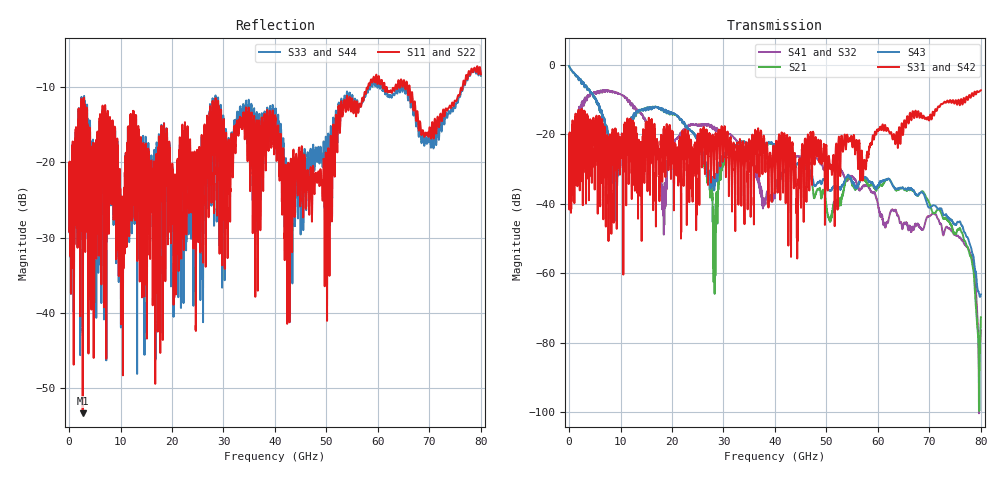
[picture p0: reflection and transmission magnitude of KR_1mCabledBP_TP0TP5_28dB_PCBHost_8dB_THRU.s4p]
!! Reference: shanbhag_3dj_02_2305.pdf
!! CHANNEL DESCRIPTION: TP0_TP5 KR Channel using 1meter Cabled BP, PCB Host
!! CABLE DESCRIPTION: 1meter 26AWG Cable
!! MODEL STATUS: Developmental
!! PORT DEFINITIONS:
!! Port  1  ----->  Side A  Side B  <-----  Port  2
!! Port  3  ----->  Side A  Side B  <-----  Port  4
# HZ S MA R 50.000000
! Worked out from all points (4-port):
!   8000 points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, 10 MHz to 80 GHz, reference 50 ohm
!   strongest paths, dB at 10 MHz, 20.01 GHz, 40.01 GHz, 60.01 GHz, 80 GHz:
!     S31: -27.2, -22.7, -31.4, -18.9, -7.4
!     S42: -27.2, -22.7, -31.4, -18.9, -7.4
!     S43: -0.5, -13.9, -23.7, -34.9, -66.1
!     S21: -0.5, -14.0, -23.7, -35.3, -72.6
!     S41: -41.3, -23.4, -37.7, -40.5, -76.5
!     S32: -41.3, -23.4, -37.7, -40.5, -76.5
!   lowest |S11| = -53.3 dB at 2.65 GHz (marker M1), VSWR 1.00, Z = 49.8 - j0.0135 ohm
!   |S11| at or under -10 dB: start of sweep to 58.09 GHz; 61.66 GHz to 63.36 GHz (1.697 GHz wide, 2.72 % of centre); 66.16 GHz to 76.46 GHz (10.3 GHz wide, 14.4 % of centre) (the widest 3 of 9)
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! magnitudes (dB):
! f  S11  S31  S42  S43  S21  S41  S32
! 10 MHz  -24.2  -27.2  -27.2  -0.5  -0.5  -41.3  -41.3
! 2.65 GHz  -53.3  -24.6  -24.6  -5.1  -5.1  -10.7  -10.7
! 8.95 GHz  -15.6  -18.4  -18.4  -35.8  -44.9  -8.2  -8.2
! 20.58 GHz  -21.6  -22.9  -22.9  -14.3  -14.5  -21.7  -21.7
! 28.26 GHz  -18.4  -26.4  -26.4  -34.2  -49.2  -18.4  -18.4
! 68.75 GHz  -15.8  -15.0  -15.0  -36.9  -36.5  -47.5  -47.5
! 80 GHz  -8.3  -7.4  -7.4  -66.1  -72.6  -76.5  -76.5
